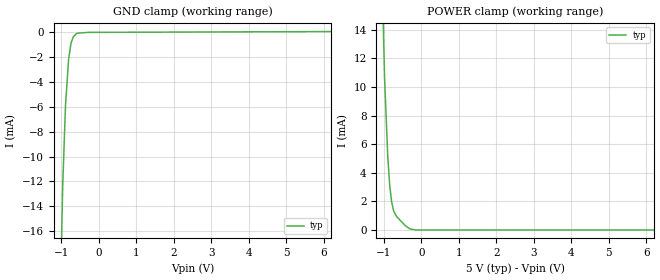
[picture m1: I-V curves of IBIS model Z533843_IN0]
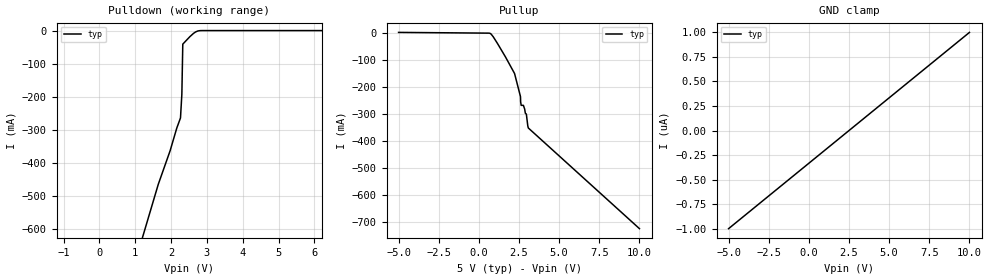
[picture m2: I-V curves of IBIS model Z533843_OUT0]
| YOU ARE ONLY AUTHORIZED TO USE THIS SOFTWARE
| ACCORDING TO LICENSOR'S LICENSE RESTRICTIONS.
[IBIS Ver] 3.1
[File Name] mc100e136fn_pecl.ibs
[File Rev] 2.0
[Source] Measured and created by ICX Technology
[Date] Friday 7/14/00 9:07:47 AM
[Copyright]
| (C) COPYRIGHT 1993-2000
| MENTOR GRAPHICS CORPORATION
| ICX STANDARD LIBRARY, ICX PROJECT MODELING,
| ICX CUSTOM MODELING, ICX VENDOR MODEL
| ALL RIGHTS RESERVED.
| THE FOLLOWING ARE TRADEMARKS OR SERVICE MARKS OF
| MENTOR GRAPHICS CORPORATION:ICX (R), ICX STANDARD
| LIBRARY(R), ICX PROJECT MODELING(R), ICX CUSTOM
| MODELING(R), qualityIBIS(TM), MODELVIEWER(TM),
| AND MODELEDITOR(TM)
| ALL COPIES OF SOFTWARE, INCLUDING BUT NOT LIMITED TO
| ANY MODIFICATIONS, ENHANCEMENTS OR DERIVATIVE WORKS,
| MUST CONTAIN ALL MENTOR GRAPHICS CORPORATION'S
| NOTICES AND LEGENDS, INCLUDING THOSE EMBEDDED IN
| SOFTWARE AND THOSE AFFIXED TO SOFTWARE MEDIUM
| AND CONTAINER, AS RECEIVED FROM MENTOR GRAPHICS
| CORPORATION.
|  ZAP Model Builder 2.7
[Component] MC100E136FN_PECL
[Manufacturer] OnSemiconductor
[Package]
| variable   typ   min   max
R_pkg  .083ohms NA NA
L_pkg  4.299nH NA NA
C_pkg  1.045pF NA NA
[Pin] signal_name  model_name  R_pin  L_pin C_pin
1 VEE POWER .08 3.94n .925p
2 CLK Z533843_IN0 .082 4.14n .995p
3 _CIN Z533843_IN1 .084 4.354n 1.065p
4 _CLIN Z533843_IN2 .086 4.583n 1.135p
5 MR Z533843_IN3 .086 4.583n 1.135p
6 D1 Z533843_IN4 .084 4.354n 1.065p
7 D0 Z533843_IN4 .082 4.14n .995p
8 VCCO POWER .08 3.94n .925p
9 Q0 Z533843_OUT0 .082 4.14n .995p
10 Q1 Z533843_OUT0 .084 4.354n 1.065p
11 VCCO POWER .086 4.583n 1.135p
12 _CLOUT Z533843_OUT0 .086 4.583n 1.135p
13 _COUT Z533843_OUT0 .084 4.354n 1.065p
14 COUT Z533843_OUT0 .082 4.14n .995p
15 VCCO POWER .08 3.94n .925p
16 VCC POWER .082 4.14n .995p
17 Q2 Z533843_OUT0 .084 4.354n 1.065p
18 Q3 Z533843_OUT0 .086 4.583n 1.135p
19 VCCO POWER .086 4.583n 1.135p
20 Q4 Z533843_OUT0 .084 4.354n 1.065p
21 Q5 Z533843_OUT0 .082 4.14n .995p
22 VCCO POWER .08 3.94n .925p
23 D5 Z533843_IN4 .082 4.14n .995p
24 D4 Z533843_IN4 .084 4.354n 1.065p
25 D3 Z533843_IN4 .086 4.583n 1.135p
26 D2 Z533843_IN4 .086 4.583n 1.135p
27 S2 Z533843_IN5 .084 4.354n 1.065p
28 S1 Z533843_IN5 .082 4.14n .995p
| Models and submodels in the file (7): Z533843_IN0 (Input), Z533843_IN1 (Input), Z533843_IN2 (Input), Z533843_IN3 (Input), Z533843_IN4 (Input), Z533843_IN5 (Input), Z533843_OUT0 (Output)
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| (C) COPYRIGHT 1993-2000
| MENTOR GRAPHICS CORPORATION
| ICX STANDARD LIBRARY, ICX PROJECT MODELING,
| ICX CUSTOM MODELING, ICX VENDOR MODEL
| ALL RIGHTS RESERVED.
| THE FOLLOWING ARE TRADEMARKS OR SERVICE MARKS OF
| MENTOR GRAPHICS CORPORATION:ICX (R), ICX STANDARD
| LIBRARY(R), ICX PROJECT MODELING(R), ICX CUSTOM
| MODELING(R), qualityIBIS(TM), MODELVIEWER(TM),
| AND MODELEDITOR(TM)
| ALL COPIES OF SOFTWARE, INCLUDING BUT NOT LIMITED TO
| ANY MODIFICATIONS, ENHANCEMENTS OR DERIVATIVE WORKS,
| MUST CONTAIN ALL MENTOR GRAPHICS CORPORATION'S
| NOTICES AND LEGENDS, INCLUDING THOSE EMBEDDED IN
| SOFTWARE AND THOSE AFFIXED TO SOFTWARE MEDIUM
| AND CONTAINER, AS RECEIVED FROM MENTOR GRAPHICS
| CORPORATION.
| Model Application Version 1.89 2/18/99.
[Model] Z533843_IN0
Model_type Input
Vinl = 2.700V
Vinh = 3.700V
C_comp 4.000pF NA NA
| variable typ   min   max
[Voltage Range] 5.000V NA NA
[GND Clamp Reference] 0.000V NA NA
[POWER Clamp Reference] 5.000V NA NA
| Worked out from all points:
|   GND clamp passes 1 mA (typ) near -0.75 V on its own axis
|   POWER clamp passes 1 mA (typ) near -0.67 V on its own axis
[GND Clamp]
-5V       -563.8mA   NA         NA
-961.6mV  -12.23mA   NA         NA
-888.7mV  -5.901mA   NA         NA
-805.7mV  -2.188mA   NA         NA
-741.7mV  -888.4uA   NA         NA
-683.1mV  -386.7uA   NA         NA
-586.7mV  -87.81uA   NA         NA
-293.4mV  -18.35uA   NA         NA
10V       90.15uA    NA         NA
[POWER Clamp]
-5V       455.3mA    NA         NA
-981mV    10.7mA     NA         NA
-895mV    5.142mA    NA         NA
-840mV    3.03mA     NA         NA
-791mV    1.952mA    NA         NA
-736mV    1.307mA    NA         NA
-660mV    939.4uA    NA         NA
-430mV    313.3uA    NA         NA
-309mV    79.1uA     NA         NA
-154.5mV  0A         NA         NA
10V       0A         NA         NA
| (C) COPYRIGHT 1993-2000
| MENTOR GRAPHICS CORPORATION
| ICX STANDARD LIBRARY, ICX PROJECT MODELING,
| ICX CUSTOM MODELING, ICX VENDOR MODEL
| ALL RIGHTS RESERVED.
| THE FOLLOWING ARE TRADEMARKS OR SERVICE MARKS OF
| MENTOR GRAPHICS CORPORATION:ICX (R), ICX STANDARD
| LIBRARY(R), ICX PROJECT MODELING(R), ICX CUSTOM
| MODELING(R), qualityIBIS(TM), MODELVIEWER(TM),
| AND MODELEDITOR(TM)
| ALL COPIES OF SOFTWARE, INCLUDING BUT NOT LIMITED TO
| ANY MODIFICATIONS, ENHANCEMENTS OR DERIVATIVE WORKS,
| MUST CONTAIN ALL MENTOR GRAPHICS CORPORATION'S
| NOTICES AND LEGENDS, INCLUDING THOSE EMBEDDED IN
| SOFTWARE AND THOSE AFFIXED TO SOFTWARE MEDIUM
| AND CONTAINER, AS RECEIVED FROM MENTOR GRAPHICS
| CORPORATION.
| Model Application Version 1.89 2/18/99.
[Model] Z533843_OUT0
Model_type Output
Vref=2.700V
Rref=300.0ohms
Cref=0.000F
Vmeas=3.200V
C_comp 8.000pF NA NA
| variable typ   min   max
[Voltage Range] 5.000V NA NA
[POWER Clamp Reference] 5.000V NA NA
[Pullup Reference] 5.000V NA NA
[Pulldown Reference] 0.000V NA NA
[GND Clamp Reference] 0.000V NA NA
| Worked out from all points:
|   slope of the pulldown table from 0 to 0.75 V, typ, clamps not added: 2.75 ohm
|   slope of the pullup table from 0 to 0.75 V, typ, clamps not added: 227 ohm
[GND Clamp]
-5V       -1uA       NA         NA
10V       1uA        NA         NA
[Pulldown]
-5V       -2.883A    NA         NA
1.641V    -463.9mA   NA         NA
1.973V    -362.2mA   NA         NA
2.158V    -294.1mA   NA         NA
2.262V    -263.4mA   NA         NA
2.3V      -191.8mA   NA         NA
2.326V    -40.69mA   NA         NA
2.627V    -8.062mA   NA         NA
2.742V    -1.118mA   NA         NA
10V       254.9uA    NA         NA
[Pullup]
-5V       2.645mA    NA         NA
762mV     -3.614mA   NA         NA
2.222V    -149.5mA   NA         NA
2.592V    -235.2mA   NA         NA
2.601V    -254.2mA   NA         NA
2.635V    -267.4mA   NA         NA
2.773V    -267.4mA   NA         NA
2.894V    -296.7mA   NA         NA
2.959V    -300.9mA   NA         NA
3.047V    -343.6mA   NA         NA
3.079V    -351.2mA   NA         NA
10V       -723.9mA   NA         NA
[POWER Clamp]
-5V       0A         NA         NA
10V       0A         NA         NA
[Ramp]
| variable typ min max
dV/dt_r 906.1m/1.976n NA NA
dV/dt_f 906.1m/1.494n NA NA
R_load = 500.0Ohms
